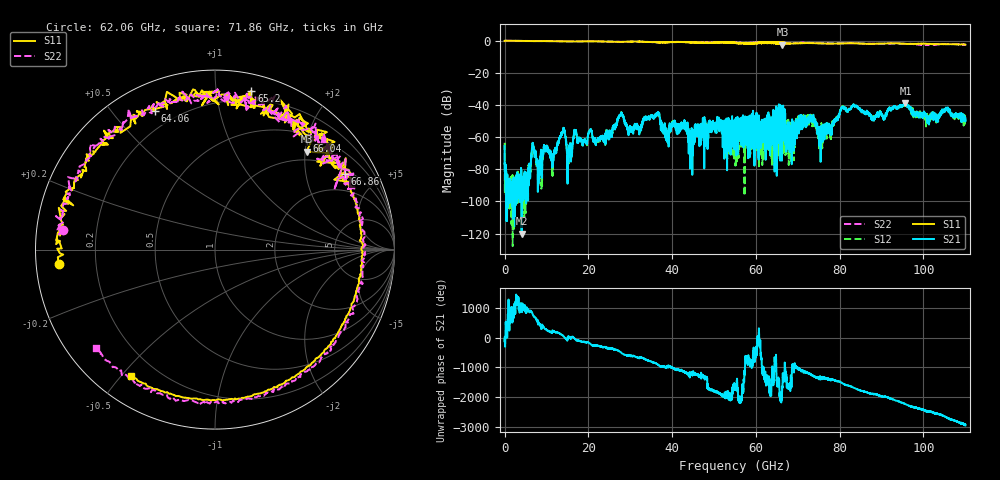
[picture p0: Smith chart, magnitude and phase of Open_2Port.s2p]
#  HZ  S  RI  R  50.00
! Rohde & Schwarz ZVA67 4Ports - Version 4.11 - 1305.7002k04 SN: 101032
! Date: 2026-02-18 15:41:46
! Measurements: S11 S21 S12 S22
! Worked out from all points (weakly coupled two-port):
!   5500 points, 20 MHz to 110 GHz, reference 50 ohm
!   highest |S21| = -38.68 dB at 95.68 GHz (marker M1); lowest = -120.1 dB at 4.08 GHz (marker M2)
!   lowest |S11| = -2.5 dB at 66.34 GHz (marker M3), VSWR 6.92, Z = 41 + j102 ohm
!   |S11| at or under -10 dB: nowhere
!   |S22| runs from -2.6 to 0.2 dB; largest |S21 - S12| = 0.0098
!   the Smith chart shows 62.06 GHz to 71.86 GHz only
!   S11 on the Smith chart (normalised r, x): 62.06 GHz: 0.07, -0.05; 64.06 GHz: 0.12, +0.65; 65.2 GHz: 0.12, +1.25; 66.04 GHz: 0.62, +2.00; 66.86 GHz: 1.18, +3.31; 71.86 GHz: 0.11, -0.53
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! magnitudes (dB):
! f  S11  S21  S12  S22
! 20 MHz  -0.1  -65.6  -63.5  0.2
! 4.08 GHz  -0.1  -120.1  -96.4  -0.1
! 11.7 GHz  -0.2  -72.6  -71.4  -0.2
! 13.9 GHz  -0.4  -56.7  -56.9  -0.3
! 15.44 GHz  -0.4  -70.3  -70.4  -0.4
! 18.36 GHz  -0.4  -61.7  -61.6  -0.4
! 36.68 GHz  -1.0  -44.6  -45.0  -0.9
! 44.44 GHz  -0.9  -64.4  -64.8  -0.9
! 55.02 GHz  -1.2  -55.6  -57.7  -1.0
! 62.06 GHz  -1.2  -60.2  -61.5  -1.4
! 64.06 GHz  -1.5  -46.6  -60.6  -1.2
! 65.2 GHz  -0.8  -54.5  -65.1  -1.5
! 66.04 GHz  -2.0  -49.9  -60.5  -1.8
! 66.34 GHz  -2.5  -54.8  -60.4  -1.6
! 66.86 GHz  -1.6  -43.1  -62.9  -1.7
! 71.86 GHz  -1.5  -52.7  -50.4  -1.3
! 73.34 GHz  -1.5  -48.1  -49.5  -1.4
! 75.42 GHz  -1.7  -56.0  -59.3  -1.6
! 80.82 GHz  -1.7  -41.5  -41.7  -1.6
! 91.68 GHz  -1.6  -43.0  -42.8  -1.8
! 95.68 GHz  -1.9  -38.7  -38.9  -1.9
! 110 GHz  -2.4  -48.9  -47.4  -2.5
